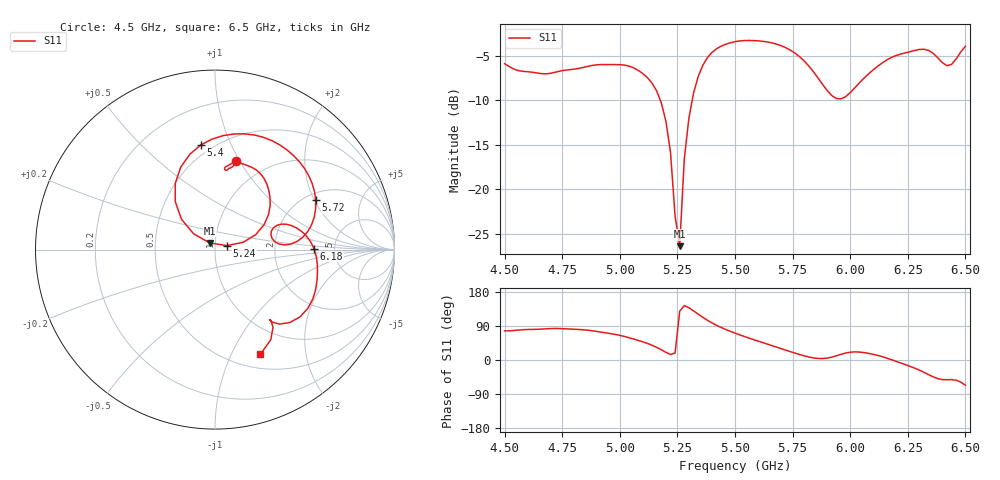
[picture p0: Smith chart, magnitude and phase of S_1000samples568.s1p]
! TOUCHSTONE file generated by CST MICROWAVE STUDIO
! Date and time: Fri Oct 28 15:24:22 2022
! Project name: L.cst
! Parameters = {Di=1.27; Epsilon_r=1.56; InnerDiameter=1.27; Length=2; Lf=10; Lg=60; OuterConductorThickness=0.2921; OuterDiameter=3.6; Wf=3; Wp=41.2; de=1.5; df=6.8; g=0.8; gx=0.477802; gy=2.60856; h=2.34; hf=1.524; px=11.1025; py=12.7551; w=9.7; wx=10.6247; wy=10.1465}
! Header version: 2018
! Port assignment regex: !\s*Touchstone port\s*([0-9]+)\s*=\s*(CST MWS port|CST DS port)\s*([0-9]+|Zmin|Zmax)\s*\(\"(.*)\"\)(\s*mode\s*([0-9]+))?.*
! Touchstone port assignment:
! Touchstone port 1 = CST MWS port 1 ("")
# GHz S DB R 50
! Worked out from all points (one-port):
!   101 points, 4.5 GHz to 6.5 GHz, reference 50 ohm
!   lowest |S11| = -26.4 dB at 5.26 GHz (marker M1), VSWR 1.10, Z = 46.9 + j3.52 ohm
!   |S11| at or under -10 dB: 5.176 GHz to 5.314 GHz (138.1 MHz wide, 2.63 % of centre)
!   S11 on the Smith chart (normalised r, x): 4.5 GHz: 0.72, +0.96; 5.24 GHz: 1.14, +0.05; 5.4 GHz: 0.43, +0.77; 5.72 GHz: 2.27, +2.05; 6.18 GHz: 3.46, +0.06; 6.5 GHz: 0.66, -1.30
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4.5  -5.88 76.8
4.76  -6.62 82.4
5  -5.99 65.0
5.12  -7.46 43.7
5.18  -10.26 26.9
5.2  -12.33 20.2
5.22  -15.83 14.6
5.24  -23.02 18.4
5.26  -26.37 128.9
5.28  -16.55 143.6
5.3  -11.98 137.8
5.34  -7.34 121.0
5.4  -4.62 97.9
5.5  -3.41 71.0
5.62  -3.37 46.0
5.72  -4.09 26.1
5.76  -4.69 18.3
5.86  -7.48 4.2
5.94  -9.79 11.1
6  -9.14 20.6
6.1  -6.57 15.0
6.18  -5.17 0.6
6.26  -4.53 -16.8
6.32  -4.26 -32.5
6.36  -4.71 -44.4
6.42  -6.11 -52.1
6.46  -5.35 -53.3
6.5  -3.93 -66.6
